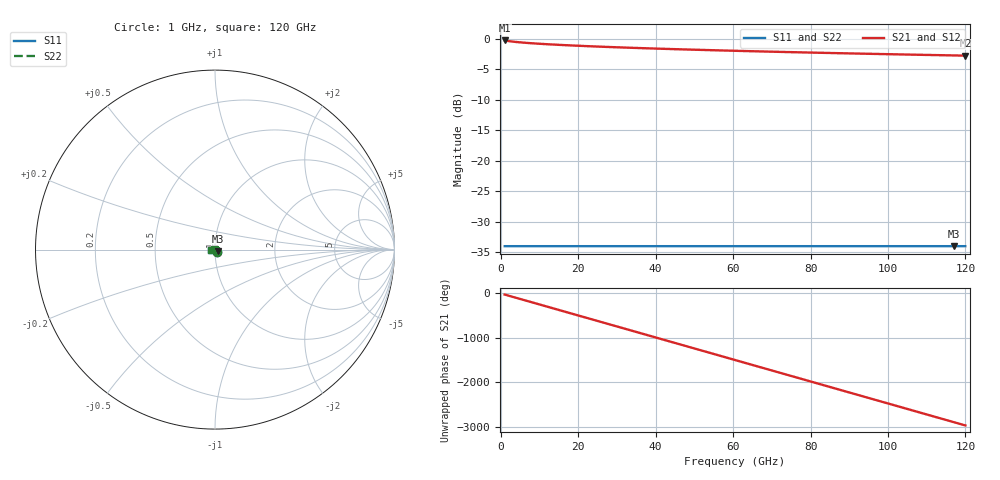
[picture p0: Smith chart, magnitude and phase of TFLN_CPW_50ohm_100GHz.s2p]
! Touchstone S2P File
! LightRail AI LR-P3A Rev 6.3 — QPA
! 50-ohm CPW on TFLN substrate, 5mm length, 1-120 GHz
! Generated by generate_sparams.py
# GHz S RI R 50.0
! freq  Re(S11)  Im(S11)  Re(S21)  Im(S21)  Re(S12)  Im(S12)  Re(S22)  Im(S22)
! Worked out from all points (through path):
!   120 points, 1 GHz to 120 GHz, reference 50 ohm
!   highest |S21| = -0.25 dB at 1 GHz (marker M1); lowest = -2.7 dB at 120 GHz (marker M2)
!   group delay of S21, straight-line fit = 68.7 ps
!   lowest |S11| = -34.0 dB at 117 GHz (marker M3), VSWR 1.04, Z = 51.8 - j0.999 ohm
!   |S11| at or under -10 dB: start of sweep to end of sweep
!   |S22| runs from -34.0 to -34.0 dB; largest |S21 - S12| = 0
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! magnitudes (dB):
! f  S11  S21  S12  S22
! 1 GHz  -34.0  -0.2  -0.2  -34.0
! 2 GHz  -34.0  -0.4  -0.4  -34.0
! 3 GHz  -34.0  -0.4  -0.4  -34.0
! 4 GHz  -34.0  -0.5  -0.5  -34.0
! 6 GHz  -34.0  -0.6  -0.6  -34.0
! 8 GHz  -34.0  -0.7  -0.7  -34.0
! 11 GHz  -34.0  -0.8  -0.8  -34.0
! 14 GHz  -34.0  -0.9  -0.9  -34.0
! 17 GHz  -34.0  -1.0  -1.0  -34.0
! 21 GHz  -34.0  -1.1  -1.1  -34.0
! 25 GHz  -34.0  -1.2  -1.2  -34.0
! 30 GHz  -34.0  -1.4  -1.4  -34.0
! 35 GHz  -34.0  -1.5  -1.5  -34.0
! 41 GHz  -34.0  -1.6  -1.6  -34.0
! 51 GHz  -34.0  -1.8  -1.8  -34.0
! 61 GHz  -34.0  -2.0  -2.0  -34.0
! 71 GHz  -34.0  -2.1  -2.1  -34.0
! 81 GHz  -34.0  -2.2  -2.2  -34.0
! 91 GHz  -34.0  -2.4  -2.4  -34.0
! 101 GHz  -34.0  -2.5  -2.5  -34.0
! 117 GHz  -34.0  -2.7  -2.7  -34.0
! 120 GHz  -34.0  -2.7  -2.7  -34.0
